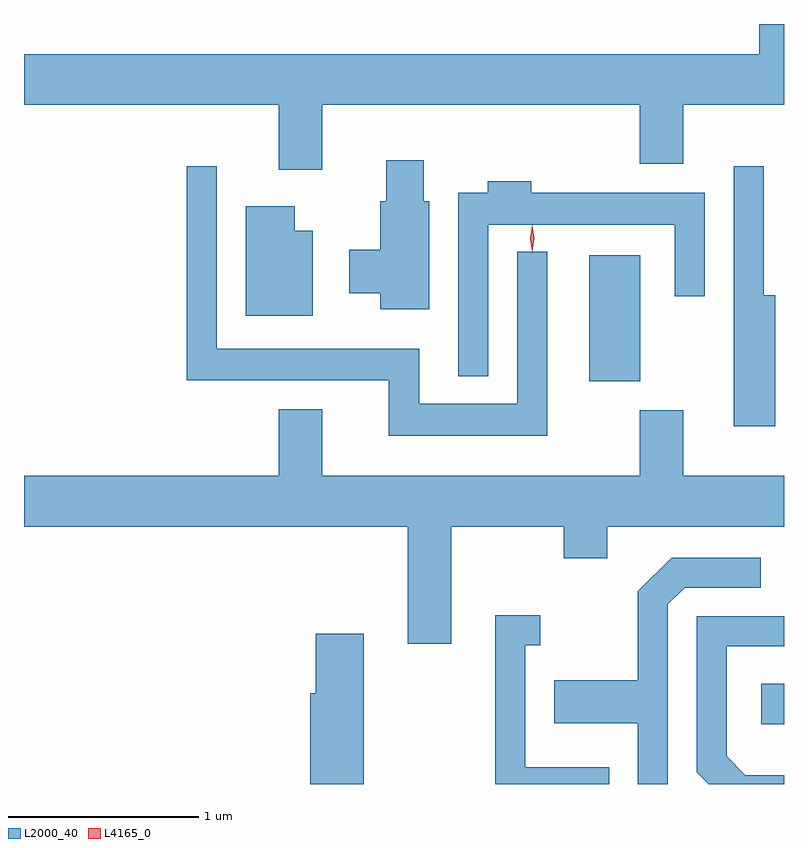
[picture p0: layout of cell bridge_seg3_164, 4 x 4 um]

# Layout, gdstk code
import gdstk
lib = gdstk.Library(unit=1e-6, precision=1e-09)
def R(c, l, rs):  # rectangles x0, y0, x1, y1
    for r in rs: c.add(gdstk.rectangle(r[:2], r[2:], *l))
def P(c, l, *ps):  # polygons
    for p in ps: c.add(gdstk.Polygon(p, *l))
L2000_40 = (2000, 40)
L4165_0 = (4165, 0)

bridge_seg3_164 = lib.new_cell('bridge_seg3_164')
R(bridge_seg3_164, L2000_40, [(909.541,1198.236,909.66,1198.449), (908.636,1200.041,908.904,1200.704)])
P(bridge_seg3_164, L2000_40, [(909.66,1201.922),(909.531,1201.922),(909.531,1201.764),(905.66,1201.764),(905.66,1201.496),(907.001,1201.496),(907.001,1201.156),(907.229,1201.156),(907.229,1201.496),(908.901,1201.496),(908.901,1201.186),(909.129,1201.186),(909.129,1201.496),(909.66,1201.496)],
  [(907.794,1200.989),(907.764,1200.989),(907.764,1201.204),(907.566,1201.204),(907.566,1200.989),(907.536,1200.989),(907.536,1200.734),(907.371,1200.734),(907.371,1200.506),(907.536,1200.506),(907.536,1200.421),(907.794,1200.421)],
  [(909.614,1200.494),(909.554,1200.494),(909.554,1201.173),(909.396,1201.173),(909.396,1199.806),(909.614,1199.806)],
  [(908.414,1200.723),(908.256,1200.723),(908.256,1199.924),(907.739,1199.924),(907.739,1200.214),(906.674,1200.214),(906.674,1201.173),(906.516,1201.173),(906.516,1200.046),(907.581,1200.046),(907.581,1199.756),(908.414,1199.756)],
  [(908.104,1200.866),(909.086,1200.866),(909.086,1200.488),(909.244,1200.488),(909.244,1201.034),(908.329,1201.034),(908.329,1201.094),(908.101,1201.094),(908.101,1201.034),(907.946,1201.034),(907.946,1200.068),(908.104,1200.068)],
  [(907.179,1200.834),(907.084,1200.834),(907.084,1200.964),(906.826,1200.964),(906.826,1200.386),(907.179,1200.386)],
  [(907.909,1199.276),(908.501,1199.276),(908.501,1199.111),(908.729,1199.111),(908.729,1199.276),(909.66,1199.276),(909.66,1199.544),(909.129,1199.544),(909.129,1199.889),(908.901,1199.889),(908.901,1199.544),(907.229,1199.544),(907.229,1199.894),(907.001,1199.894),(907.001,1199.544),(905.66,1199.544),(905.66,1199.276),(907.681,1199.276),(907.681,1198.661),(907.909,1198.661)],
  [(909.049,1198.869),(909.137,1198.956),(909.538,1198.956),(909.538,1199.114),(909.069,1199.114),(908.891,1198.937),(908.891,1198.469),(908.451,1198.469),(908.451,1198.241),(908.891,1198.241),(908.891,1197.922),(909.049,1197.922)],
  [(908.739,1198.009),(908.299,1198.009),(908.299,1198.651),(908.378,1198.651),(908.378,1198.809),(908.141,1198.809),(908.141,1197.922),(908.739,1197.922)],
  [(909.66,1197.969),(909.457,1197.969),(909.359,1198.067),(909.359,1198.646),(909.66,1198.646),(909.66,1198.804),(909.201,1198.804),(909.201,1197.984),(909.263,1197.922),(909.66,1197.922)],
  [(907.449,1198.714),(907.196,1198.714),(907.196,1198.399),(907.166,1198.399),(907.166,1197.922),(907.449,1197.922)])
P(bridge_seg3_164, L4165_0, [(908.334,1200.724),(908.334,1200.724),(908.324,1200.793),(908.334,1200.863),(908.334,1200.863),(908.335,1200.863),(908.344,1200.793),(908.335,1200.724)],
  [(908.334,1200.727),(908.325,1200.794),(908.334,1200.86),(908.335,1200.861),(908.335,1200.86),(908.345,1200.794),(908.335,1200.727),(908.335,1200.727)])

lib.write_gds('bridge_seg3_164.gds')
